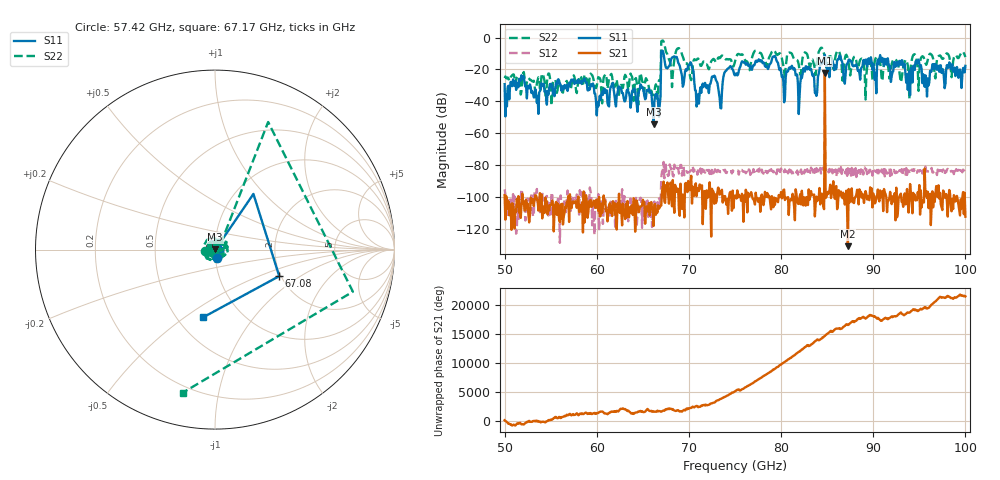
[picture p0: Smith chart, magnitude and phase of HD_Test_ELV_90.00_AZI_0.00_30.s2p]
! 11/25/2026 9:21:17 AM
! C:\ANRITSUVNA\TEMP\TEMP.S2P
! CHANNEL.1
! TR.MEASUREMENT
! RAW.DATA
# HZ S RI R 50.0
! FREQ.HZ  S11RE  S11IM  S21RE  S21IM  S12RE  S12IM  S22RE  S22IM
!; PortSelection: Port_12
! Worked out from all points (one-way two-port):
!   601 points, 50 GHz to 100 GHz, reference 50 ohm
!   highest |S21| = -22.13 dB at 84.75 GHz (marker M1); lowest = -131.0 dB at 87.25 GHz (marker M2)
!   lowest |S11| = -54.3 dB at 66.17 GHz (marker M3), VSWR 1.00, Z = 50.1 + j0.15 ohm
!   |S11| at or under -10 dB: start of sweep to 67 GHz; 67.24 GHz to end of sweep
!   |S22| runs from -42.6 to -1.8 dB; largest |S21 - S12| = 0.078
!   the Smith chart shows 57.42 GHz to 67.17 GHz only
!   S11 on the Smith chart (normalised r, x): 57.42 GHz: 1.02, -0.10; 67.08 GHz: 1.96, -0.68; 67.17 GHz: 0.67, -0.59
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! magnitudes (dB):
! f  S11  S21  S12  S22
! 50 GHz  -29.2  -98.9  -95.3  -25.4
! 57.42 GHz  -26.3  -102.9  -104.3  -25.2
! 58.42 GHz  -27.2  -103.4  -101.3  -29.0
! 60.17 GHz  -43.2  -108.9  -98.2  -24.8
! 61.67 GHz  -28.7  -112.0  -103.8  -24.5
! 66.17 GHz  -54.3  -118.3  -108.2  -35.4
! 66.67 GHz  -42.0  -105.4  -105.9  -32.1
! 67.08 GHz  -8.2  -96.4  -84.0  -1.9
! 67.17 GHz  -8.3  -93.7  -83.4  -1.8
! 70.17 GHz  -15.4  -91.0  -83.8  -25.7
! 70.92 GHz  -40.6  -95.4  -86.1  -13.3
! 75 GHz  -23.7  -99.2  -83.9  -15.0
! 79.25 GHz  -11.8  -100.5  -83.5  -7.9
! 80.25 GHz  -27.6  -95.7  -83.1  -17.6
! 83.42 GHz  -23.8  -98.8  -82.9  -13.8
! 84.75 GHz  -10.8  -22.1  -47.2  -11.7
! 87.25 GHz  -15.7  -131.0  -82.0  -13.4
! 91.67 GHz  -16.7  -102.4  -84.5  -20.5
! 93.75 GHz  -32.7  -103.4  -83.8  -17.3
! 94.83 GHz  -15.0  -97.1  -83.3  -20.3
! 95.83 GHz  -37.0  -100.7  -83.9  -15.9
! 100 GHz  -17.7  -112.5  -85.4  -12.2
